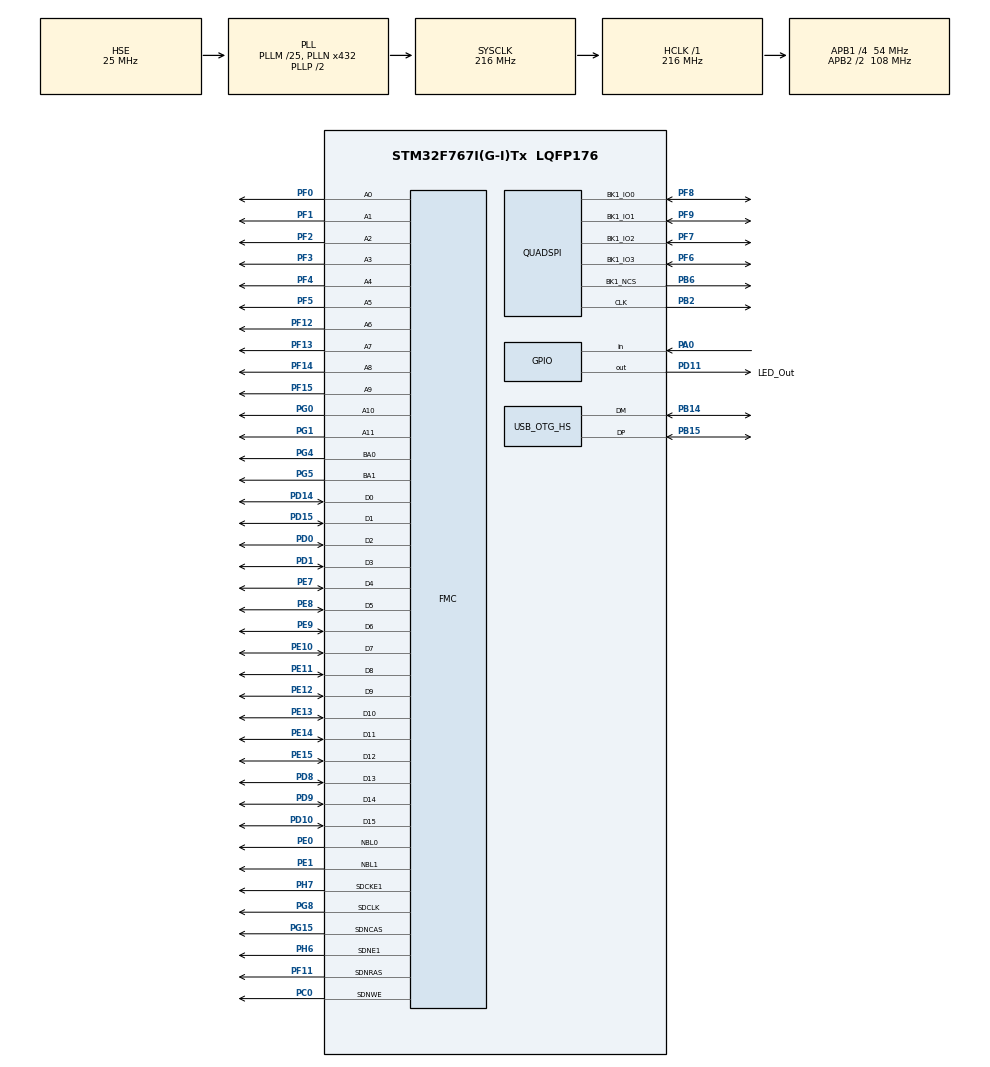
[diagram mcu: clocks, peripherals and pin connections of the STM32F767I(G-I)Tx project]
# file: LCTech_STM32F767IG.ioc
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FMC.CASLatency1=FMC_SDRAM_CAS_LATENCY_3
FMC.ExitSelfRefreshDelay1=7
FMC.LoadToActiveDelay1=2
FMC.RCDDelay1=2
FMC.RPDelay1=2
FMC.RPDelay2=2
FMC.ReadPipeDelay1=FMC_SDRAM_RPIPE_DELAY_1
FMC.ReadPipeDelay2=FMC_SDRAM_RPIPE_DELAY_1
FMC.RowCycleDelay1=6
FMC.RowCycleDelay2=6
FMC.SDClockPeriod1=FMC_SDRAM_CLOCK_PERIOD_2
FMC.SDClockPeriod2=FMC_SDRAM_CLOCK_PERIOD_2
FMC.SelfRefreshTime1=4
FMC.WriteRecoveryTime1=2
Mcu.Family=STM32F7
Mcu.Name=STM32F767I(G-I)Tx
Mcu.Package=LQFP176
NVIC.OTG_HS_IRQn=true\:0\:0\:false\:false\:true\:false\:true
NVIC.PriorityGroup=NVIC_PRIORITYGROUP_4
NVIC.TIM7_IRQn=true\:0\:0\:false\:false\:true\:false\:true
NVIC.TimeBase=TIM7_IRQn
NVIC.TimeBaseIP=TIM7
PA0/WKUP.GPIO_Mode=GPIO_MODE_INPUT
PA0/WKUP.GPIO_PuPd=GPIO_NOPULL
PA0/WKUP.Signal=GPIO_Input
PA1.Signal=ETH_REF_CLK
PA10.Signal=USART1_RX
PA11.Signal=LTDC_R4
PA12.Signal=LTDC_R5
PA13.Signal=SYS_JTMS-SWDIO
PA14.Signal=SYS_JTCK-SWCLK
PA15.Signal=SYS_JTDI
PA2.Signal=ETH_MDIO
PA3.Signal=LTDC_B5
PA4.Signal=DCMI_HSYNC
PA6.Signal=DCMI_PIXCLK
PA7.Signal=ETH_CRS_DV
PA9.Signal=USART1_TX
PB0.Signal=LTDC_R3
PB1.Signal=LTDC_R6
PB11.Signal=ETH_TX_EN
PB14.Mode=Device_Only_FS
PB14.Signal=USB_OTG_HS_DM
PB15.Mode=Device_Only_FS
PB15.Signal=USB_OTG_HS_DP
PB2.Mode=Single Bank 1
PB2.Signal=QUADSPI_CLK
PB3.Signal=SYS_JTDO-SWO
PB6.Mode=Single Bank 1
PB6.Signal=QUADSPI_BK1_NCS
PB8.Signal=LTDC_B6
PB9.Signal=LTDC_B7
PC0.Signal=FMC_SDNWE
PC1.Signal=ETH_MDC
PC14/OSC32_IN.Mode=LSE-External-Oscillator
PC14/OSC32_IN.Signal=RCC_OSC32_IN
PC15/OSC32_OUT.Mode=LSE-External-Oscillator
PC15/OSC32_OUT.Signal=RCC_OSC32_OUT
PC4.Signal=ETH_RXD0
PC5.Signal=ETH_RXD1
PC7.Signal=LTDC_G6
PD0.Signal=FMC_D2_DA2
PD1.Signal=FMC_D3_DA3
PD10.Signal=FMC_D15_DA15
PD11.GPIO_Label=LED_Out
PD11.GPIO_ModeDefaultOutputPP=GPIO_MODE_OUTPUT_PP
PD11.GPIO_PuPd=GPIO_NOPULL
PD11.GPIO_Speed=GPIO_SPEED_FREQ_LOW
PD11.PinState=GPIO_PIN_RESET
PD11.Signal=GPIO_Output
PD14.Signal=FMC_D0_DA0
PD15.Signal=FMC_D1_DA1
PD6.Signal=LTDC_B2
PD8.Signal=FMC_D13_DA13
PD9.Signal=FMC_D14_DA14
PE0.Signal=FMC_NBL0
PE1.Signal=FMC_NBL1
PE10.Signal=FMC_D7_DA7
PE11.Signal=FMC_D8_DA8
PE12.Signal=FMC_D9_DA9
PE13.Signal=FMC_D10_DA10
PE14.Signal=FMC_D11_DA11
PE15.Signal=FMC_D12_DA12
PE4.Signal=LTDC_B0
PE5.Signal=LTDC_G0
PE6.Signal=LTDC_G1
PE7.Signal=FMC_D4_DA4
PE8.Signal=FMC_D5_DA5
PE9.Signal=FMC_D6_DA6
PF0.Signal=FMC_A0
PF1.Signal=FMC_A1
PF10.Signal=LTDC_DE
PF11.Signal=FMC_SDNRAS
PF12.Signal=FMC_A6
PF13.Signal=FMC_A7
PF14.Signal=FMC_A8
PF15.Signal=FMC_A9
PF2.Signal=FMC_A2
PF3.Signal=FMC_A3
PF4.Signal=FMC_A4
PF5.Signal=FMC_A5
PF6.Mode=Single Bank 1
PF6.Signal=QUADSPI_BK1_IO3
PF7.Mode=Single Bank 1
PF7.Signal=QUADSPI_BK1_IO2
PF8.Mode=Single Bank 1
PF8.Signal=QUADSPI_BK1_IO0
PF9.Mode=Single Bank 1
PF9.Signal=QUADSPI_BK1_IO1
PG0.Signal=FMC_A10
PG1.Signal=FMC_A11
PG10.Signal=LTDC_G3
PG11.Signal=LTDC_B3
PG12.Signal=LTDC_B1
PG15.Signal=FMC_SDNCAS
PG4.Signal=FMC_A14_BA0
PG5.Signal=FMC_A15_BA1
PG6.Signal=LTDC_R7
PG7.Signal=LTDC_CLK
PG8.Signal=FMC_SDCLK
PH0/OSC_IN.Mode=HSE-External-Oscillator
PH0/OSC_IN.Signal=RCC_OSC_IN
PH1/OSC_OUT.Mode=HSE-External-Oscillator
PH1/OSC_OUT.Signal=RCC_OSC_OUT
PH13.Signal=LTDC_G2
PH15.Signal=LTDC_G4
PH2.Signal=LTDC_R0
PH3.Signal=LTDC_R1
PH6.Mode=SdramChipSelect2_1
PH6.Signal=FMC_SDNE1
PH7.Mode=SdramChipSelect2_1
PH7.Signal=FMC_SDCKE1
PH8.Signal=LTDC_R2
PI0.Signal=LTDC_G5
PI10.Signal=LTDC_HSYNC
PI2.Signal=LTDC_G7
PI4.Signal=LTDC_B4
PI9.Signal=LTDC_VSYNC
ProjectManager.HeapSize=0x200
ProjectManager.StackSize=0x400
ProjectManager.TargetToolchain=STM32CubeIDE
QUADSPI.ChipSelectHighTime=QSPI_CS_HIGH_TIME_2_CYCLE
QUADSPI.ClockPrescaler=4
QUADSPI.FifoThreshold=4
QUADSPI.FlashSize=23
QUADSPI.SampleShifting=QSPI_SAMPLE_SHIFTING_HALFCYCLE
RCC.AHBFreq_Value=216000000
RCC.APB1CLKDivider=RCC_HCLK_DIV4
RCC.APB1Freq_Value=54000000
RCC.APB1TimFreq_Value=108000000
RCC.APB2CLKDivider=RCC_HCLK_DIV2
RCC.APB2Freq_Value=108000000
RCC.APB2TimFreq_Value=216000000
RCC.CortexFreq_Value=216000000
RCC.HCLKFreq_Value=216000000
RCC.HSE_VALUE=25000000
RCC.HSI_VALUE=16000000
RCC.PLLM=25
RCC.PLLN=432
RCC.PLLQ=9
RCC.SYSCLKFreq_VALUE=216000000
RCC.SYSCLKSource=RCC_SYSCLKSOURCE_PLLCLK
RCC.USBFreq_Value=48000000
RCC.VCOOutputFreq_Value=432000000
SH.FMC_A0.0=FMC_A0,12b-sda1
SH.FMC_A1.0=FMC_A1,12b-sda1
SH.FMC_A10.0=FMC_A10,12b-sda1
SH.FMC_A11.0=FMC_A11,12b-sda1
SH.FMC_A14_BA0.0=FMC_BA0,FourSdramBanks1
SH.FMC_A15_BA1.0=FMC_BA1,FourSdramBanks1
SH.FMC_A2.0=FMC_A2,12b-sda1
SH.FMC_A3.0=FMC_A3,12b-sda1
SH.FMC_A4.0=FMC_A4,12b-sda1
SH.FMC_A5.0=FMC_A5,12b-sda1
SH.FMC_A6.0=FMC_A6,12b-sda1
SH.FMC_A7.0=FMC_A7,12b-sda1
SH.FMC_A8.0=FMC_A8,12b-sda1
SH.FMC_A9.0=FMC_A9,12b-sda1
SH.FMC_D0_DA0.0=FMC_D0,sd-16b-d1
SH.FMC_D10_DA10.0=FMC_D10,sd-16b-d1
SH.FMC_D11_DA11.0=FMC_D11,sd-16b-d1
SH.FMC_D12_DA12.0=FMC_D12,sd-16b-d1
SH.FMC_D13_DA13.0=FMC_D13,sd-16b-d1
SH.FMC_D14_DA14.0=FMC_D14,sd-16b-d1
SH.FMC_D15_DA15.0=FMC_D15,sd-16b-d1
SH.FMC_D1_DA1.0=FMC_D1,sd-16b-d1
SH.FMC_D2_DA2.0=FMC_D2,sd-16b-d1
SH.FMC_D3_DA3.0=FMC_D3,sd-16b-d1
SH.FMC_D4_DA4.0=FMC_D4,sd-16b-d1
SH.FMC_D5_DA5.0=FMC_D5,sd-16b-d1
SH.FMC_D6_DA6.0=FMC_D6,sd-16b-d1
SH.FMC_D7_DA7.0=FMC_D7,sd-16b-d1
SH.FMC_D8_DA8.0=FMC_D8,sd-16b-d1
SH.FMC_D9_DA9.0=FMC_D9,sd-16b-d1
SH.FMC_NBL0.0=FMC_NBL0,Sd2ByteEnable1
SH.FMC_NBL1.0=FMC_NBL1,Sd2ByteEnable1
SH.FMC_SDCLK.0=FMC_SDCLK,12b-sda1
SH.FMC_SDNCAS.0=FMC_SDNCAS,12b-sda1
SH.FMC_SDNRAS.0=FMC_SDNRAS,12b-sda1
SH.FMC_SDNWE.0=FMC_SDNWE,12b-sda1
STMicroelectronics.X-CUBE-TOUCHGFX.4.13.0.ApplicationCcGraphicsJjApplication=TouchGFXOoGenerator
STMicroelectronics.X-CUBE-TOUCHGFX.4.13.0.tgfx_address1=0xD0000000
STMicroelectronics.X-CUBE-TOUCHGFX.4.13.0.tgfx_custom_height=480
STMicroelectronics.X-CUBE-TOUCHGFX.4.13.0.tgfx_display_interface=disp_ltdc
STMicroelectronics.X-CUBE-TOUCHGFX.4.13.0.tgfx_hardware_accelerator=dma_2d
STMicroelectronics.X-CUBE-TOUCHGFX.4.13.0.tgfx_location=By Address
STMicroelectronics.X-CUBE-TOUCHGFX.4.13.0.tgfx_ltdc_height=480
STMicroelectronics.X-CUBE-TOUCHGFX.4.13.0.tgfx_ltdc_width=640
STMicroelectronics.X-CUBE-TOUCHGFX.4.13.0.tgfx_pixel_format=RGB888\:24
STMicroelectronics.X-CUBE-TOUCHGFX.4.13.0.tgfx_vsync=vsync_ltdc
USB_DEVICE.CLASS_NAME_HS=CDC
USB_DEVICE.VirtualMode-CDC_HS=Cdc
USB_DEVICE.VirtualModeHS=Cdc_HS
USB_OTG_HS.Sof_enable-Device_Only_FS=ENABLE
USB_OTG_HS.VirtualMode-Device_Only_FS=Device_Only_FS
VP_CRC_VS_CRC.Mode=CRC_Activate
VP_SYS_VS_tim7.Mode=TIM7
VP_USB_DEVICE_VS_USB_DEVICE_CDC_HS.Mode=CDC_HS
board=custom

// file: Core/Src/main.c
/* USER CODE BEGIN Header */
/**
  ******************************************************************************
  * @file           : main.c
  * @brief          : Main program body
  ******************************************************************************
  * @attention
  *
  * <h2><center>&copy; Copyright (c) 2020 STMicroelectronics.
  * All rights reserved.</center></h2>
  *
  * This software component is licensed by ST under BSD 3-Clause license,
  * the "License"; You may not use this file except in compliance with the
  * License. You may obtain a copy of the License at:
  *                        opensource.org/licenses/BSD-3-Clause
  *
  ******************************************************************************
  */
/* USER CODE END Header */

#include "main.h"
#include "crc.h"
#include "quadspi.h"
#include "usb_device.h"
#include "gpio.h"
#include "fmc.h"

/* USER CODE BEGIN Includes */
#include "stm32746g_sdram.h"
#include "stm32746g_qspi.h"
#include "debug_console.h"

/* USER CODE END Includes */

void SystemClock_Config(void);

int main(void)
{

  /* MCU Configuration--------------------------------------------------------*/

  /* Reset of all peripherals, Initializes the Flash interface and the Systick. */
  HAL_Init();

  /* Configure the system clock */
  SystemClock_Config();

  /* Initialize all configured peripherals */
  MX_GPIO_Init();
  MX_FMC_Init();
  MX_QUADSPI_Init();
  MX_USB_DEVICE_Init();
  MX_CRC_Init();
  /* USER CODE BEGIN 2 */
  /* SDRAM device configuration */
  BSP_SDRAM_Init();
#ifdef _JEIL_DEBUG_H_
  DebugInit();
#endif
  /* USER CODE END 2 */

  /* Infinite loop */
  while (1)
  {

    /* USER CODE BEGIN 3 */
#ifndef _JEIL_DEBUG_H_
    HAL_GPIO_WritePin(LED_Out_GPIO_Port, LED_Out_Pin, GPIO_PIN_SET);
    HAL_Delay(250);
    HAL_GPIO_WritePin(LED_Out_GPIO_Port, LED_Out_Pin, GPIO_PIN_RESET);
    HAL_Delay(250);
#else
    HAL_Delay(500);
#endif
  }
  /* USER CODE END 3 */
}

void SystemClock_Config(void)
{
  RCC_OscInitTypeDef RCC_OscInitStruct = {0};
  RCC_ClkInitTypeDef RCC_ClkInitStruct = {0};
  RCC_PeriphCLKInitTypeDef PeriphClkInitStruct = {0};

  /** Configure LSE Drive Capability
  */
  HAL_PWR_EnableBkUpAccess();
  /** Configure the main internal regulator output voltage
  */
  __HAL_RCC_PWR_CLK_ENABLE();
  __HAL_PWR_VOLTAGESCALING_CONFIG(PWR_REGULATOR_VOLTAGE_SCALE1);
  /** Initializes the CPU, AHB and APB busses clocks
  */
  RCC_OscInitStruct.OscillatorType = RCC_OSCILLATORTYPE_HSE;
  RCC_OscInitStruct.HSEState = RCC_HSE_ON;
  RCC_OscInitStruct.PLL.PLLState = RCC_PLL_ON;
  RCC_OscInitStruct.PLL.PLLSource = RCC_PLLSOURCE_HSE;
  RCC_OscInitStruct.PLL.PLLM = 25;
  RCC_OscInitStruct.PLL.PLLN = 432;
  RCC_OscInitStruct.PLL.PLLP = RCC_PLLP_DIV2;
  RCC_OscInitStruct.PLL.PLLQ = 9;
  if (HAL_RCC_OscConfig(&RCC_OscInitStruct) != HAL_OK)
  {
    Error_Handler();
  }
  /** Activate the Over-Drive mode
  */
  if (HAL_PWREx_EnableOverDrive() != HAL_OK)
  {
    Error_Handler();
  }
  /** Initializes the CPU, AHB and APB busses clocks
  */
  RCC_ClkInitStruct.ClockType = RCC_CLOCKTYPE_HCLK|RCC_CLOCKTYPE_SYSCLK
                              |RCC_CLOCKTYPE_PCLK1|RCC_CLOCKTYPE_PCLK2;
  RCC_ClkInitStruct.SYSCLKSource = RCC_SYSCLKSOURCE_PLLCLK;
  RCC_ClkInitStruct.AHBCLKDivider = RCC_SYSCLK_DIV1;
  RCC_ClkInitStruct.APB1CLKDivider = RCC_HCLK_DIV4;
  RCC_ClkInitStruct.APB2CLKDivider = RCC_HCLK_DIV2;

  if (HAL_RCC_ClockConfig(&RCC_ClkInitStruct, FLASH_LATENCY_7) != HAL_OK)
  {
    Error_Handler();
  }
  PeriphClkInitStruct.PeriphClockSelection = RCC_PERIPHCLK_CLK48;
  PeriphClkInitStruct.Clk48ClockSelection = RCC_CLK48SOURCE_PLL;
  if (HAL_RCCEx_PeriphCLKConfig(&PeriphClkInitStruct) != HAL_OK)
  {
    Error_Handler();
  }
}

/* USER CODE BEGIN 4 */
void HAL_Delay(uint32_t Delay)
{
  uint32_t tickstart = HAL_GetTick();
  uint32_t wait = Delay;

  /* Add a freq to guarantee minimum wait */
  if (wait < HAL_MAX_DELAY)
  {
    wait += (uint32_t)(uwTickFreq);
  }

  while ((HAL_GetTick() - tickstart) < wait)
  {
#ifdef _JEIL_DEBUG_H_
	  DebugTask();
#endif
  }
}

void SDRAM_Test(void)
{
	#define SDRAM_BUFFER_SIZE   ((uint32_t)0x1000)
	#define WRITE_READ_ADDR     ((uint32_t)0x0800)
	/* Read/Write Buffers */
	uint32_t aTxBuffer[SDRAM_BUFFER_SIZE];
	uint32_t aRxBuffer[SDRAM_BUFFER_SIZE];
	/* Status variables */
	__IO uint32_t uwWriteReadStatus = 0;

	printf("\r\n SDRAM example !!!\r\n");
	/* Program the SDRAM external device */
	/*##-1- Configure the SDRAM device #########################################*/
	HAL_Delay(10);

	/*##-2- SDRAM memory read/write access #####################################*/
	/* Fill the buffer to write */
	for (int i = 0; i < SDRAM_BUFFER_SIZE; i++) {
		aTxBuffer[i] = 0xC178A562 + i; /* TxBuffer init */
	}

	/* Write data to the SDRAM memory */
	BSP_SDRAM_WriteData(SDRAM_DEVICE_ADDR + WRITE_READ_ADDR, aTxBuffer,	SDRAM_BUFFER_SIZE);
	printf(" /* Write data to the SDRAM memory */\r\n");
//	for (int i = 0; i < BUFFER_SIZE; i++) {
//		printf("%02X:0x%08lX ", i, aTxBuffer[i]);
//		HAL_Delay(2);
//	}
//	printf("\r\n");
	HAL_Delay(100);

	/* Read back data from the SDRAM memory */
	BSP_SDRAM_ReadData(SDRAM_DEVICE_ADDR + WRITE_READ_ADDR, aRxBuffer, SDRAM_BUFFER_SIZE);
	printf(" /* Read back data from the SDRAM memory */\r\n");
//	for (int i = 0; i < BUFFER_SIZE; i++) {
//		printf("%02X:0x%08lX ", i, aRxBuffer[i]);
//		HAL_Delay(2);
//	}
//	printf("\r\n");
	HAL_Delay(100);

	/*##-3- Checking data integrity ############################################*/
	for (int i = 0; (i < SDRAM_BUFFER_SIZE); i++) {
		if (aRxBuffer[i] != aTxBuffer[i]) {
			uwWriteReadStatus++;
		}
	}
	if (uwWriteReadStatus == 0) /* check date */
		printf(" SDRAM Test OK\r\n");
	else
		printf(" SDRAM Test False\r\n");
}

void W25Q_QUADSPI_Erase(void)
{
	if (BSP_QSPI_Erase_Block(0) == QSPI_OK)
		printf(" QSPI Erase Block OK\r\n");
	else
		printf(" QSPI Erase Block FAIL\r\n");
	HAL_Delay(10);
}

void W25Q_QUADSPI_Test(void)
{
	#define	QSPI_BUFFER_SIZE	0x100

	uint8_t wData[QSPI_BUFFER_SIZE];
	uint8_t rData[QSPI_BUFFER_SIZE];
	uint8_t pData[3];

	/*##-1- Initialize W25Q128FV  ###########################################*/
	if (BSP_QSPI_Init()==QSPI_OK) {
		printf("\r\n  W25Q256JV QuadSPI Test....\r\n");
		HAL_Delay(10);
	}

	/*##-2-Read Device ID Test    ###########################################*/
	if (BSP_QSPI_Read_Device_ID(READ_ID_CMD, pData)==QSPI_OK)
		printf("-SPI I/0 Read Device ID : 0x%2X 0x%2X\r\n", pData[0], pData[1]);
	HAL_Delay(10);

	if (BSP_QSPI_Read_Device_ID(DUAL_READ_ID_CMD, pData)==QSPI_OK)
		printf("-Dual I/O Read Device ID : 0x%2X 0x%2X\r\n", pData[0], pData[1]);
	HAL_Delay(10);

	if (BSP_QSPI_Read_Device_ID(QUAD_READ_ID_CMD, pData)==QSPI_OK)
		printf("-Quad I/O Read Device ID : 0x%2X 0x%2X\r\n", pData[0], pData[1]);
	HAL_Delay(10);
	if (BSP_QSPI_Read_Device_ID(READ_JEDEC_ID_CMD, pData)==QSPI_OK)
		printf(" Read JEDEC ID :  0x%2X 0x%2X 0x%2X\r\n", pData[0], pData[1], pData[2]);
	HAL_Delay(10);

	/*##-3-QSPI Erase/Write/Read Test    ###########################################*/
	/* fill buffer */
	for (uint32_t i = 0; i < 0x100; i++) {
		wData[i] = i;
		rData[i] = 0;
	}

	if (BSP_QSPI_Erase_Block(0) == QSPI_OK)
		printf(" QSPI Erase Block OK\r\n");
	else
		printf(" QSPI Erase Block FAIL\r\n");
	HAL_Delay(10);

	if (BSP_QSPI_Write(wData, 0x00, QSPI_BUFFER_SIZE) == QSPI_OK)
		printf(" QSPI Write OK\r\n");
	else
		printf(" QSPI Write FAIL\r\n");
	HAL_Delay(10);

	if (BSP_QSPI_Read(rData, 0x00, QSPI_BUFFER_SIZE) == QSPI_OK)
		printf(" QSPI Read OK\r\n");
	else
		printf(" QSPI Read FAIL\r\n");
	HAL_Delay(10);
#if 0
	printf("QSPI Read Data : \r\n");
	for (uint32_t i = 0; i < 0x100; i++) {
		printf("0x%02X  ", rData[i]);
		HAL_Delay(1);
	}
	printf("\r\n");

	for (uint32_t i = 0; i < 0x100; i++) {
		if (rData[i] != wData[i]) {
			printf("0x%02X 0x%02X ", wData[i], rData[i]);
			HAL_Delay(1);
		}
	}
	printf("\r\n");
	HAL_Delay(100);
#endif
	/* check data */
#if 1
	uint8_t wdat;
	uint8_t rdat;
	uint8_t verify=1;
	for (uint16_t i = 0; i < QSPI_BUFFER_SIZE; i++) {
		wdat = wData[i];
		rdat = rData[i];
		if (wdat!=rdat) {
			printf("At %3d Byte miss match between write=%02X & read=%02X \r\n", i, wdat, rdat);
			HAL_Delay(10);
			verify = 0;
			break;
		}
	}
	if (verify)
		printf(" QSPI Verify OK\r\n");
	else
		printf(" QSPI Verify FAIL\r\n");
#endif
}
/* USER CODE END 4 */

 /**
  * @brief  Period elapsed callback in non blocking mode
  * @note   This function is called  when TIM7 interrupt took place, inside
  * HAL_TIM_IRQHandler(). It makes a direct call to HAL_IncTick() to increment
  * a global variable "uwTick" used as application time base.
  * @param  htim : TIM handle
  * @retval None
  */
void HAL_TIM_PeriodElapsedCallback(TIM_HandleTypeDef *htim)
{
  if (htim->Instance == TIM7) {
    HAL_IncTick();
  }
}

void Error_Handler(void)
{
  /* USER CODE BEGIN Error_Handler_Debug */
  /* User can add his own implementation to report the HAL error return state */
	printf("\r\n Error Handler.\r\n");
  /* USER CODE END Error_Handler_Debug */
}

/************************ (C) COPYRIGHT STMicroelectronics *****END OF FILE****/
